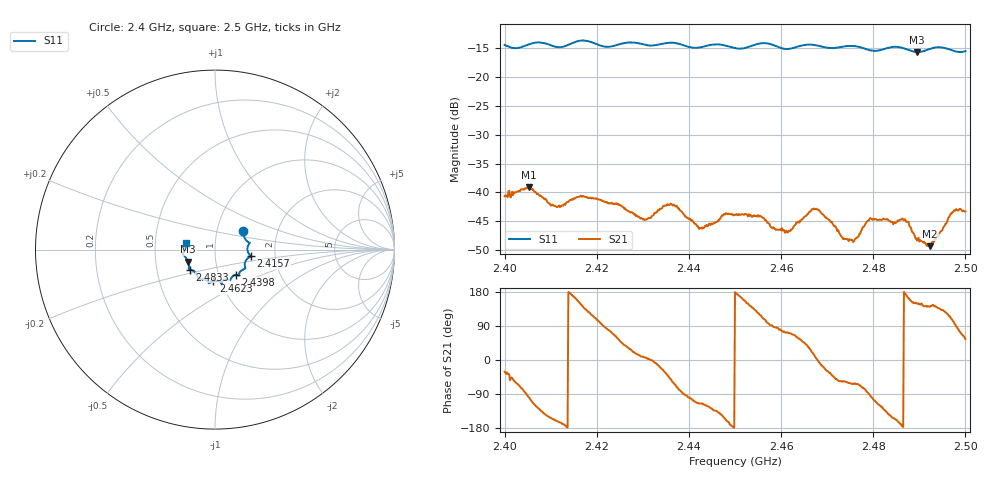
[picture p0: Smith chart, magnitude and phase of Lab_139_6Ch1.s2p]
# Hz S RI R 50
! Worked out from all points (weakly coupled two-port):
!   601 points, 2.4 GHz to 2.5 GHz, reference 50 ohm
!   highest |S21| = -39.13 dB at 2.4053 GHz (marker M1); lowest = -49.3 dB at 2.4923 GHz (marker M2)
!   lowest |S11| = -15.7 dB at 2.4895 GHz (marker M3), VSWR 1.39, Z = 36.7 - j5.12 ohm
!   |S11| at or under -10 dB: start of sweep to end of sweep
!   S12 and S22 are empty: the file has one direction only
!   S11 on the Smith chart (normalised r, x): 2.4 GHz: 1.34, +0.29; 2.4157 GHz: 1.49, -0.11; 2.4398 GHz: 1.21, -0.35; 2.4623 GHz: 0.92, -0.34; 2.4833 GHz: 0.74, -0.17; 2.5 GHz: 0.72, +0.05
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2.4e9  0.1568 0.1055  0.00794 -0.00478  0 0  0 0
2.405333e9  0.1869 0.041  -0.00178 -0.0109  0 0  0 0
2.411e9  0.1818 0.014  -0.00713 -0.00279  0 0  0 0
2.415667e9  0.1992 -0.0368  -0.00852 0.00322  0 0  0 0
2.416667e9  0.2022 -0.04  -0.00767 0.00521  0 0  0 0
2.424667e9  0.1664 -0.0921  0.0045 0.00657  0 0  0 0
2.430333e9  0.1524 -0.1137  0.00573 0.000728  0 0  0 0
2.433333e9  0.1343 -0.1343  0.00685 -0.00171  0 0  0 0
2.4365e9  0.1337 -0.1451  0.00399 -0.00659  0 0  0 0
2.439833e9  0.1165 -0.1398  -0.000885 -0.00589  0 0  0 0
2.442667e9  0.0933 -0.1545  -0.00208 -0.0045  0 0  0 0
2.45e9  0.0639 -0.1655  -0.00641 0.000116  0 0  0 0
2.462333e9  -0.00852 -0.1761  0.00181 0.00445  0 0  0 0
2.466667e9  -0.0336 -0.1869  0.00668 0.00256  0 0  0 0
2.475167e9  -0.0912 -0.1612  0.00181 -0.00343  0 0  0 0
2.479167e9  -0.1056 -0.1336  -0.000123 -0.00584  0 0  0 0
2.483333e9  -0.1396 -0.1115  -0.00462 -0.00337  0 0  0 0
2.487167e9  -0.1447 -0.0959  -0.00551 0.000844  0 0  0 0
2.4895e9  -0.1489 -0.0678  -0.00327 0.00199  0 0  0 0
2.492333e9  -0.1711 -0.0349  -0.00264 0.0022  0 0  0 0
2.497167e9  -0.1692 -0.0043  -0.00184 0.0065  0 0  0 0
2.5e9  -0.1626 0.0371  0.0039 0.00564  0 0  0 0
